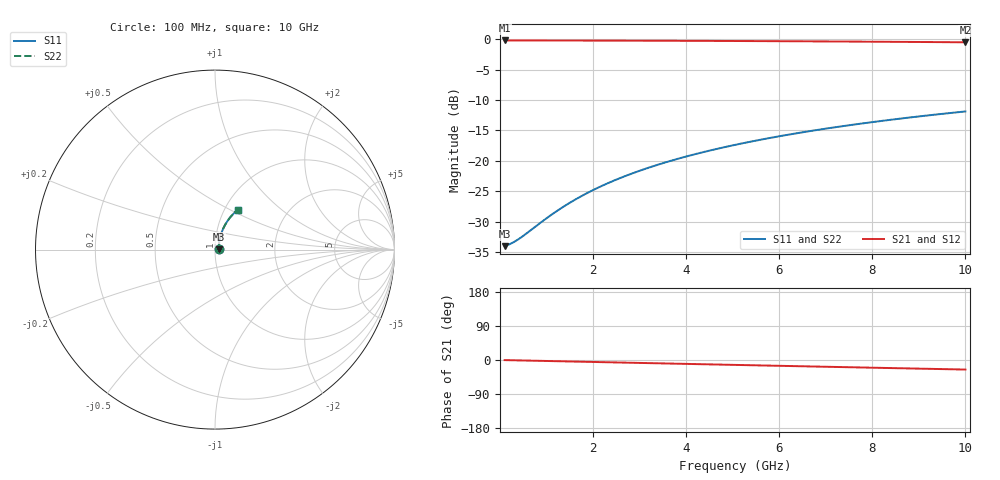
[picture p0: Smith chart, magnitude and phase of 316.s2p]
# Hz S RI R 50.00
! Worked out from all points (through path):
!   100 points, 100 MHz to 10 GHz, reference 50 ohm
!   highest |S21| = -0.17 dB at 100 MHz (marker M1); lowest = -0.5 dB at 10 GHz (marker M2)
!   group delay of S21, straight-line fit = 7.01 ps
!   lowest |S11| = -34.1 dB at 100 MHz (marker M3), VSWR 1.04, Z = 52 + j0.271 ohm
!   |S11| at or under -10 dB: start of sweep to end of sweep
!   |S22| runs from -34.1 to -11.9 dB; largest |S21 - S12| = 0
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1e8  0.0196 0.0026  0.9804 -0.00441  0.9804 -0.00441  0.0196 0.0026
2e8  0.0198 0.0052  0.9802 -0.00882  0.9802 -0.00882  0.0198 0.0052
3e8  0.0199 0.0078  0.98 -0.0132  0.98 -0.0132  0.0199 0.0078
4e8  0.0201 0.0104  0.9799 -0.0176  0.9799 -0.0176  0.0201 0.0104
6e8  0.0205 0.0156  0.9795 -0.0264  0.9795 -0.0264  0.0205 0.0156
1e9  0.0214 0.0259  0.9784 -0.044  0.9784 -0.044  0.0214 0.0259
1.2e9  0.022 0.0311  0.9778 -0.0528  0.9778 -0.0528  0.022 0.0311
1.5e9  0.023 0.0388  0.9766 -0.0659  0.9766 -0.0659  0.023 0.0388
1.8e9  0.0242 0.0465  0.9752 -0.079  0.9752 -0.079  0.0242 0.0465
2.1e9  0.0257 0.0541  0.9736 -0.0921  0.9736 -0.0921  0.0257 0.0541
2.5e9  0.0279 0.0642  0.971 -0.1094  0.971 -0.1094  0.0279 0.0642
2.9e9  0.0305 0.0742  0.9681 -0.1267  0.9681 -0.1267  0.0305 0.0742
3.4e9  0.0342 0.0865  0.9639 -0.1481  0.9639 -0.1481  0.0342 0.0865
3.8e9  0.0375 0.0963  0.9601 -0.165  0.9601 -0.165  0.0375 0.0963
4.2e9  0.0412 0.1058  0.9558 -0.1819  0.9558 -0.1819  0.0412 0.1058
4.6e9  0.0452 0.1153  0.9512 -0.1985  0.9512 -0.1985  0.0452 0.1153
5.1e9  0.0506 0.1268  0.945 -0.2191  0.945 -0.2191  0.0506 0.1268
5.9e9  0.0603 0.1446  0.9338 -0.2515  0.9338 -0.2515  0.0603 0.1446
6.7e9  0.0712 0.1616  0.9212 -0.2831  0.9212 -0.2831  0.0712 0.1616
7.5e9  0.0832 0.1777  0.9073 -0.3137  0.9073 -0.3137  0.0832 0.1777
8.4e9  0.0978 0.1946  0.8902 -0.347  0.8902 -0.347  0.0978 0.1946
1e10  0.1265 0.2214  0.8565 -0.403  0.8565 -0.403  0.1265 0.2214
